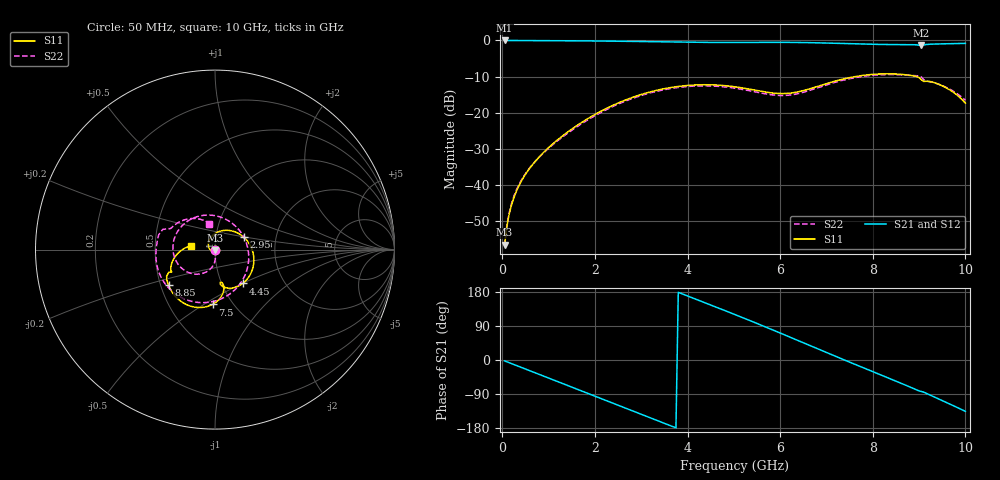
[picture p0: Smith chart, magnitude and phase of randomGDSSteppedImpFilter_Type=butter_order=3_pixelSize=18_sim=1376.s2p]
! freq	dB(S11)	phase(S11)	dB(S12)	phase(S12)
!  dB(S21)	phase(S21)	dB(S22)	phase(S22)
!S-par simulation data
#  GHz  S  DB  R 50
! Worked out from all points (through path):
!   200 points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, 50 MHz to 10 GHz, reference 50 ohm
!   highest |S21| = -0.01 dB at 50 MHz (marker M1); lowest = -1.4 dB at 9.05 GHz (marker M2)
!   group delay of S21, straight-line fit = 137 ps
!   lowest |S11| = -56.5 dB at 50 MHz (marker M3), VSWR 1.00, Z = 50 - j0.146 ohm
!   |S11| at or under -10 dB: start of sweep to 7.622 GHz; 8.952 GHz to end of sweep
!   |S22| runs from -56.9 to -9.4 dB; largest |S21 - S12| = 0
!   S11 on the Smith chart (normalised r, x): 50 MHz: 1.00, -0.00; 2.95 GHz: 1.37, +0.20; 4.45 GHz: 1.25, -0.50; 7.5 GHz: 0.81, -0.54; 8.85 GHz: 0.55, -0.24; 10 GHz: 0.76, +0.03
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0.05  -56.55 -78.9  -0.01 -2.4  -0.01 -2.4  -56.93 -70.3
0.1  -51.33 -91.3  -0.01 -4.8  -0.01 -4.8  -51.11 -79.6
0.2  -45.48 -107.1  -0.02 -9.6  -0.02 -9.6  -45.11 -83.9
0.45  -38.08 -136.8  -0.03 -21.5  -0.03 -21.5  -37.86 -85.5
1.15  -27.97 154.0  -0.07 -54.8  -0.07 -54.8  -28.22 -86.1
1.75  -22.39 103.9  -0.12 -83.4  -0.12 -83.4  -22.74 -92.5
2.35  -18.18 60.9  -0.20 -112.1  -0.20 -112.1  -18.50 -106.2
2.95  -15.16 23.5  -0.30 -140.9  -0.30 -140.9  -15.44 -125.8
3.4  -13.61 -1.6  -0.40 -162.4  -0.40 -162.4  -13.89 -143.4
3.9  -12.58 -26.6  -0.49 173.8  -0.49 173.8  -12.86 -165.5
4.45  -12.26 -50.6  -0.55 147.6  -0.55 147.6  -12.58 166.6
5.05  -12.88 -71.1  -0.55 118.7  -0.55 118.7  -13.27 129.9
5.85  -14.56 -81.4  -0.52 78.9  -0.52 78.9  -15.09 60.7
6.25  -14.53 -78.2  -0.54 58.4  -0.54 58.4  -15.05 16.1
6.7  -13.15 -77.0  -0.63 35.2  -0.63 35.2  -13.56 -31.6
7.1  -11.57 -82.4  -0.76 14.7  -0.76 14.7  -11.90 -66.9
7.5  -10.29 -92.6  -0.91 -5.6  -0.91 -5.6  -10.58 -97.0
8.35  -9.23 -121.9  -1.14 -48.2  -1.14 -48.2  -9.44 -152.2
8.85  -9.73 -142.6  -1.18 -73.8  -1.18 -73.8  -9.72 176.8
9.05  -10.88 -154.0  -1.40 -83.2  -1.40 -83.2  -10.12 158.9
9.5  -12.55 -167.4  -0.95 -107.1  -0.95 -107.1  -12.49 135.6
10  -17.36 171.0  -0.82 -135.5  -0.82 -135.5  -16.57 102.0
